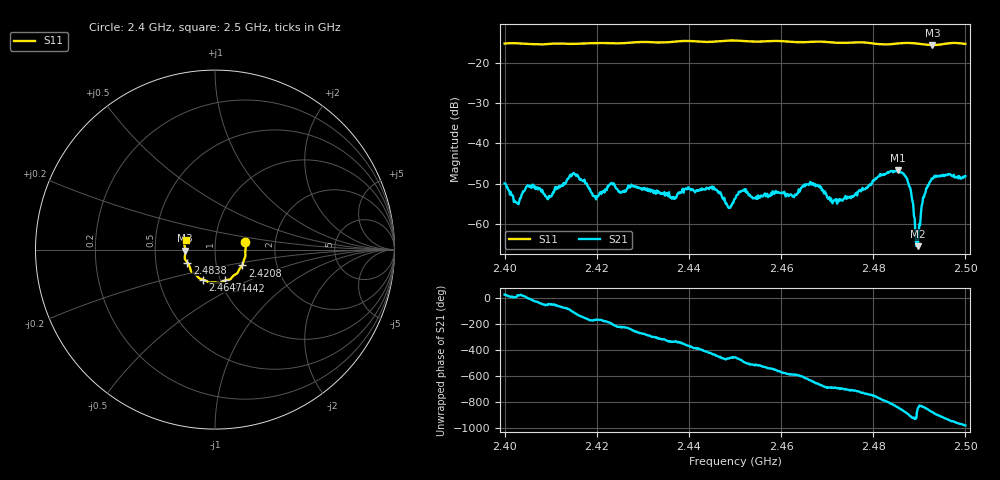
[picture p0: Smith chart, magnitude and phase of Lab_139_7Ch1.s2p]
# Hz S RI R 50
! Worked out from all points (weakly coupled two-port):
!   601 points, 2.4 GHz to 2.5 GHz, reference 50 ohm
!   highest |S21| = -46.69 dB at 2.4853 GHz (marker M1); lowest = -65.4 dB at 2.4897 GHz (marker M2)
!   lowest |S11| = -15.6 dB at 2.4928 GHz (marker M3), VSWR 1.40, Z = 35.8 - j0.394 ohm
!   |S11| at or under -10 dB: start of sweep to end of sweep
!   S12 and S22 are empty: the file has one direction only
!   S11 on the Smith chart (normalised r, x): 2.4 GHz: 1.40, +0.12; 2.4208 GHz: 1.33, -0.24; 2.4442 GHz: 1.05, -0.37; 2.4647 GHz: 0.83, -0.29; 2.4838 GHz: 0.73, -0.11; 2.5 GHz: 0.72, +0.08
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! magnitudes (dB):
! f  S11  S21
! 2.4 GHz  -15.3  -49.9
! 2.4025 GHz  -15.2  -54.5
! 2.4052 GHz  -15.3  -50.6
! 2.4097 GHz  -15.3  -53.0
! 2.4147 GHz  -15.3  -47.7
! 2.4167 GHz  -15.2  -49.0
! 2.4208 GHz  -15.1  -52.1
! 2.4333 GHz  -15.0  -51.8
! 2.4442 GHz  -14.8  -51.1
! 2.4485 GHz  -14.5  -55.8
! 2.45 GHz  -14.5  -53.7
! 2.4647 GHz  -14.9  -50.5
! 2.4667 GHz  -14.8  -50.2
! 2.4727 GHz  -15.1  -54.3
! 2.4833 GHz  -15.4  -47.3
! 2.4838 GHz  -15.4  -46.8
! 2.4853 GHz  -15.2  -46.7
! 2.4877 GHz  -15.1  -50.1
! 2.4897 GHz  -15.2  -65.4
! 2.491 GHz  -15.4  -53.3
! 2.4928 GHz  -15.6  -48.7
! 2.5 GHz  -15.3  -48.1
